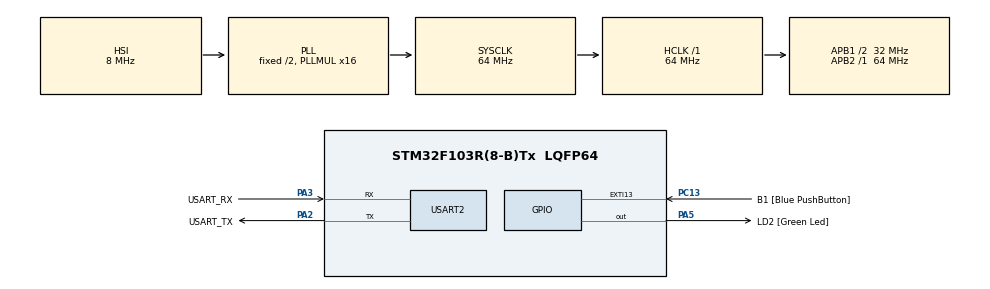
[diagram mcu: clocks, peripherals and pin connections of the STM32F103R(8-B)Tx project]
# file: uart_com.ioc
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Mcu.Family=STM32F1
Mcu.Name=STM32F103R(8-B)Tx
Mcu.Package=LQFP64
NVIC.EXTI15_10_IRQn=true\:0\:0\:false\:false\:true\:true\:true\:true
NVIC.PriorityGroup=NVIC_PRIORITYGROUP_4
PA13.GPIO_Label=TMS
PA13.Mode=Serial_Wire
PA13.Signal=SYS_JTMS-SWDIO
PA14.GPIO_Label=TCK
PA14.Mode=Serial_Wire
PA14.Signal=SYS_JTCK-SWCLK
PA2.GPIO_Label=USART_TX
PA2.GPIO_Mode=GPIO_MODE_AF_PP
PA2.GPIO_PuPd=GPIO_NOPULL
PA2.GPIO_Speed=GPIO_SPEED_FREQ_LOW
PA2.Mode=Asynchronous
PA2.Signal=USART2_TX
PA3.GPIO_Label=USART_RX
PA3.GPIO_Mode=GPIO_MODE_AF_PP
PA3.GPIO_PuPd=GPIO_NOPULL
PA3.GPIO_Speed=GPIO_SPEED_FREQ_LOW
PA3.Mode=Asynchronous
PA3.Signal=USART2_RX
PA5.GPIO_Label=LD2 [Green Led]
PA5.GPIO_ModeDefaultOutputPP=GPIO_MODE_OUTPUT_PP
PA5.GPIO_PuPd=GPIO_NOPULL
PA5.GPIO_Speed=GPIO_SPEED_FREQ_LOW
PA5.Signal=GPIO_Output
PB3.GPIO_Label=SWO
PB3.Signal=SYS_JTDO-TRACESWO
PC13-TAMPER-RTC.GPIO_Label=B1 [Blue PushButton]
PC13-TAMPER-RTC.GPIO_PuPd=GPIO_NOPULL
PC13-TAMPER-RTC.Signal=GPXTI13
PC14-OSC32_IN.Signal=RCC_OSC32_IN
PC15-OSC32_OUT.Signal=RCC_OSC32_OUT
PD0-OSC_IN.Signal=RCC_OSC_IN
PD1-OSC_OUT.Signal=RCC_OSC_OUT
ProjectManager.HeapSize=0x200
ProjectManager.StackSize=0x400
ProjectManager.TargetToolchain=STM32CubeIDE
RCC.AHBFreq_Value=64000000
RCC.APB1CLKDivider=RCC_HCLK_DIV2
RCC.APB1Freq_Value=32000000
RCC.APB1TimFreq_Value=64000000
RCC.APB2Freq_Value=64000000
RCC.APB2TimFreq_Value=64000000
RCC.HCLKFreq_Value=64000000
RCC.PLLMUL=RCC_PLL_MUL16
RCC.RTCClockSelection=RCC_RTCCLKSOURCE_LSE
RCC.SYSCLKFreq_VALUE=64000000
RCC.SYSCLKSource=RCC_SYSCLKSOURCE_PLLCLK
RCC.USBFreq_Value=64000000
USART2.VirtualMode=VM_ASYNC
board=NUCLEO-F103RB

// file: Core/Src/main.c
/* USER CODE BEGIN Header */
/**
  ******************************************************************************
  * @file           : main.c
  * @brief          : Main program body
  ******************************************************************************
  * @attention
  *
  * Copyright (c) 2025 STMicroelectronics.
  * All rights reserved.
  *
  * This software is licensed under terms that can be found in the LICENSE file
  * in the root directory of this software component.
  * If no LICENSE file comes with this software, it is provided AS-IS.
  *
  ******************************************************************************
  */
/* USER CODE END Header */
#include "main.h"

/* USER CODE BEGIN Includes */
#include <stdio.h>
#include "string.h"
#include <stdlib.h>
/* USER CODE END Includes */

UART_HandleTypeDef huart2;

/* USER CODE BEGIN PV */
int stack[10];
uint8_t transmit[256];
uint8_t receive;
/* USER CODE END PV */

void SystemClock_Config(void);
static void MX_GPIO_Init(void);
static void MX_USART2_UART_Init(void);

/* USER CODE BEGIN 0 */
#ifdef __GNUC__
#define PUTCHAR_PROTOTYPE int __io_putchar(int ch)
#else
#define PUTCHAR_PROTOTYPE int fputc(int ch, FILE *f)
#endif

PUTCHAR_PROTOTYPE
{
	if(ch == '\n')
		HAL_UART_Transmit(&huart2, (uint8_t *)"\r", 1, 0xFFFF);
		HAL_UART_Transmit(&huart2, (uint8_t *)&ch, 1, 0xFFFF);

		return ch;
}

/* USER CODE END 0 */

int main(void)
{

  /* MCU Configuration--------------------------------------------------------*/

  /* Reset of all peripherals, Initializes the Flash interface and the Systick. */
  HAL_Init();

  /* Configure the system clock */
  SystemClock_Config();

  /* Initialize all configured peripherals */
  MX_GPIO_Init();
  MX_USART2_UART_Init();
  /* USER CODE BEGIN 2 */
  printf("=== UART2 Receive Test ===\r\n");

  /* USER CODE END 2 */

  /* Infinite loop */
  while (1)
  {

    /* USER CODE BEGIN 3 */
	  printf("=== Enter your word ===\r\n");
	  HAL_UART_Receive(&huart2, &receive, 1, HAL_MAX_DELAY);
	  printf("=== Print what you said ===\r\n");
	  HAL_UART_Transmit(&huart2, &receive, strlen((char *)receive), 100);
//	  printf("%c", receive);
//	  HAL_GPIO_WritePin(LD2_GPIO_Port, LD2_Pin, 1);
	  if(receive == 'A')
	  {
		  printf("\r\n");
		  HAL_GPIO_WritePin(LD2_GPIO_Port, LD2_Pin, 1);
		  sprintf((char *)transmit, "HIGH\n\r");
		  HAL_UART_Transmit(&huart2, &transmit, strlen((char *)transmit), 100);
	  }

	  else
	  {
		  printf("\r\n");
		  HAL_GPIO_WritePin(LD2_GPIO_Port, LD2_Pin, 0);
		  sprintf((char *)transmit, "LOW\n\r");
		  HAL_UART_Transmit(&huart2, &transmit, strlen((char *)transmit), 100);
	  }

	  HAL_Delay(100);
  }
  /* USER CODE END 3 */
}

void SystemClock_Config(void)
{
  RCC_OscInitTypeDef RCC_OscInitStruct = {0};
  RCC_ClkInitTypeDef RCC_ClkInitStruct = {0};

  /** Initializes the RCC Oscillators according to the specified parameters
  * in the RCC_OscInitTypeDef structure.
  */
  RCC_OscInitStruct.OscillatorType = RCC_OSCILLATORTYPE_HSI;
  RCC_OscInitStruct.HSIState = RCC_HSI_ON;
  RCC_OscInitStruct.HSICalibrationValue = RCC_HSICALIBRATION_DEFAULT;
  RCC_OscInitStruct.PLL.PLLState = RCC_PLL_ON;
  RCC_OscInitStruct.PLL.PLLSource = RCC_PLLSOURCE_HSI_DIV2;
  RCC_OscInitStruct.PLL.PLLMUL = RCC_PLL_MUL16;
  if (HAL_RCC_OscConfig(&RCC_OscInitStruct) != HAL_OK)
  {
    Error_Handler();
  }

  /** Initializes the CPU, AHB and APB buses clocks
  */
  RCC_ClkInitStruct.ClockType = RCC_CLOCKTYPE_HCLK|RCC_CLOCKTYPE_SYSCLK
                              |RCC_CLOCKTYPE_PCLK1|RCC_CLOCKTYPE_PCLK2;
  RCC_ClkInitStruct.SYSCLKSource = RCC_SYSCLKSOURCE_PLLCLK;
  RCC_ClkInitStruct.AHBCLKDivider = RCC_SYSCLK_DIV1;
  RCC_ClkInitStruct.APB1CLKDivider = RCC_HCLK_DIV2;
  RCC_ClkInitStruct.APB2CLKDivider = RCC_HCLK_DIV1;

  if (HAL_RCC_ClockConfig(&RCC_ClkInitStruct, FLASH_LATENCY_2) != HAL_OK)
  {
    Error_Handler();
  }
}

static void MX_USART2_UART_Init(void)
{

  huart2.Instance = USART2;
  huart2.Init.BaudRate = 115200;
  huart2.Init.WordLength = UART_WORDLENGTH_8B;
  huart2.Init.StopBits = UART_STOPBITS_1;
  huart2.Init.Parity = UART_PARITY_NONE;
  huart2.Init.Mode = UART_MODE_TX_RX;
  huart2.Init.HwFlowCtl = UART_HWCONTROL_NONE;
  huart2.Init.OverSampling = UART_OVERSAMPLING_16;
  if (HAL_UART_Init(&huart2) != HAL_OK)
  {
    Error_Handler();
  }

}

static void MX_GPIO_Init(void)
{
  GPIO_InitTypeDef GPIO_InitStruct = {0};

  /* GPIO Ports Clock Enable */
  __HAL_RCC_GPIOC_CLK_ENABLE();
  __HAL_RCC_GPIOD_CLK_ENABLE();
  __HAL_RCC_GPIOA_CLK_ENABLE();
  __HAL_RCC_GPIOB_CLK_ENABLE();

  /*Configure GPIO pin Output Level */
  HAL_GPIO_WritePin(LD2_GPIO_Port, LD2_Pin, GPIO_PIN_RESET);

  /*Configure GPIO pin : B1_Pin */
  GPIO_InitStruct.Pin = B1_Pin;
  GPIO_InitStruct.Mode = GPIO_MODE_IT_RISING;
  GPIO_InitStruct.Pull = GPIO_NOPULL;
  HAL_GPIO_Init(B1_GPIO_Port, &GPIO_InitStruct);

  /*Configure GPIO pin : LD2_Pin */
  GPIO_InitStruct.Pin = LD2_Pin;
  GPIO_InitStruct.Mode = GPIO_MODE_OUTPUT_PP;
  GPIO_InitStruct.Pull = GPIO_NOPULL;
  GPIO_InitStruct.Speed = GPIO_SPEED_FREQ_LOW;
  HAL_GPIO_Init(LD2_GPIO_Port, &GPIO_InitStruct);

  /* EXTI interrupt init*/
  HAL_NVIC_SetPriority(EXTI15_10_IRQn, 0, 0);
  HAL_NVIC_EnableIRQ(EXTI15_10_IRQn);

}

void Error_Handler(void)
{
  __disable_irq();
  while (1)
  {
  }
}
